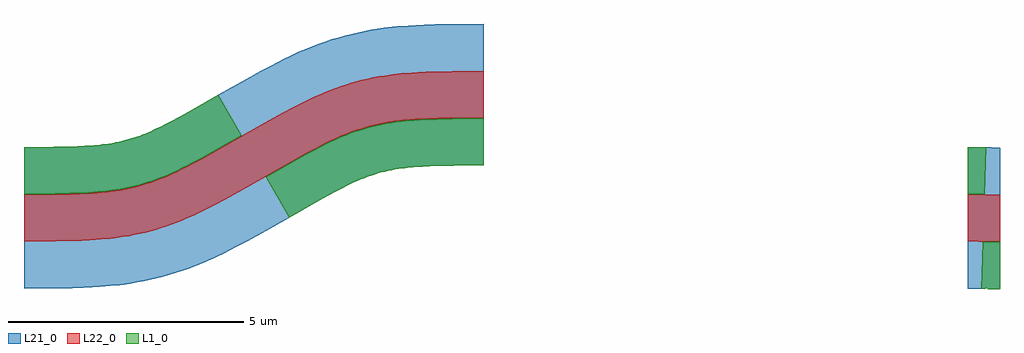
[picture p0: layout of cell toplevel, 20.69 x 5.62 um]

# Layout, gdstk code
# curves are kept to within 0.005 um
import gdstk
lib = gdstk.Library(unit=1e-6, precision=1e-09)
def P(c, l, *ps):  # polygons
    for p in ps: c.add(gdstk.Polygon(p, *l))
L1_0 = (1, 0)
L21_0 = (21, 0)
L22_0 = (22, 0)

wg_sbend = lib.new_cell('WG Sbend')
P(wg_sbend, L1_0, [(3.123,2.048),(2.749,1.861),(2.459,1.741),(2.168,1.649),(1.87,1.583),(1.558,1.542),(1.285,1.523),(0.635,1.504),(0,1.5),(0,0.5),(0.648,0.504),(1.18,0.517),(1.563,0.539),(1.946,0.583),(2.331,0.659),(2.615,0.738),(2.984,0.873),(3.338,1.035),(3.776,1.263),(4.62,1.738),(4.12,2.604),(3.568,2.29)],
  [(6.616,0.562),(7.047,0.774),(7.28,0.868),(7.572,0.96),(7.87,1.026),(8.181,1.067),(8.599,1.093),(9.739,1.11),(9.739,2.11),(8.559,2.092),(8.089,2.063),(7.793,2.027),(7.408,1.95),(7.031,1.841),(6.755,1.737),(6.401,1.575),(5.964,1.347),(5.12,0.872),(5.62,0.006),(6.172,0.32)])
P(wg_sbend, L21_0, [(3.123,2.048),(2.749,1.861),(2.459,1.741),(2.168,1.649),(1.87,1.583),(1.558,1.542),(1.285,1.523),(0.635,1.504),(0,1.5),(0,-1.5),(1.021,-1.489),(1.442,-1.473),(1.833,-1.445),(2.11,-1.414),(2.39,-1.371),(2.669,-1.316),(2.944,-1.248),(3.216,-1.169),(3.485,-1.078),(3.749,-0.975),(4.005,-0.863),(4.357,-0.691),(4.73,-0.495),(5.62,0.006),(4.12,2.604),(3.568,2.29)],
  [(6.616,0.562),(7.047,0.774),(7.28,0.868),(7.572,0.96),(7.87,1.026),(8.181,1.067),(8.599,1.093),(9.739,1.11),(9.739,4.11),(9.065,4.105),(8.481,4.091),(7.906,4.055),(7.629,4.024),(7.349,3.981),(7.071,3.925),(6.795,3.858),(6.523,3.779),(6.254,3.687),(5.99,3.585),(5.632,3.425),(5.009,3.105),(4.12,2.604),(5.62,0.006),(6.172,0.32)])
P(wg_sbend, L22_0, [(3.589,1.163),(3.167,0.953),(2.801,0.802),(2.615,0.738),(2.426,0.684),(2.043,0.599),(1.725,0.554),(1.18,0.517),(0.648,0.504),(0,0.5),(0,-0.5),(0.661,-0.496),(1.219,-0.482),(1.642,-0.458),(2.098,-0.406),(2.452,-0.339),(2.801,-0.25),(3.03,-0.178),(3.255,-0.096),(3.586,0.045),(3.903,0.2),(4.253,0.384),(5.12,0.872),(4.62,1.738),(4.056,1.417)],
  [(6.15,1.447),(6.572,1.656),(6.938,1.808),(7.313,1.926),(7.696,2.011),(8.014,2.056),(8.402,2.085),(9.091,2.105),(9.739,2.11),(9.739,3.11),(8.745,3.099),(8.35,3.084),(7.998,3.059),(7.641,3.015),(7.287,2.949),(6.938,2.86),(6.596,2.748),(6.373,2.661),(6.153,2.564),(5.836,2.41),(5.487,2.226),(4.62,1.738),(5.12,0.872)])

wg_sbend002 = lib.new_cell('WG Sbend002')
P(wg_sbend002, L1_0, [(20.311,1.496),(20,1.5),(20,0.5),(20.36,0.494),(20.395,1.493)],
  [(20.374,-1.508),(20.686,-1.512),(20.686,-0.512),(20.325,-0.506),(20.29,-1.505)])
P(wg_sbend002, L21_0, [(20.311,1.496),(20,1.5),(20,-1.5),(20.29,-1.505),(20.395,1.493)],
  [(20.374,-1.508),(20.686,-1.512),(20.686,1.488),(20.395,1.493),(20.29,-1.505)])
P(wg_sbend002, L22_0, [(20.279,0.496),(20,0.5),(20,-0.5),(20.325,-0.506),(20.36,0.494)],
  [(20.407,-0.508),(20.686,-0.512),(20.686,0.488),(20.36,0.494),(20.325,-0.506)])

toplevel = lib.new_cell('toplevel')
toplevel.add(gdstk.Reference(wg_sbend, (0,0)))
toplevel.add(gdstk.Reference(wg_sbend002, (0,0)))

lib.write_gds('toplevel.gds')
